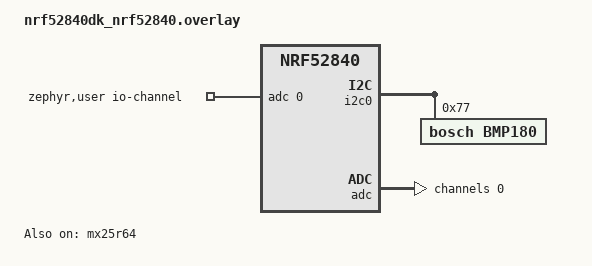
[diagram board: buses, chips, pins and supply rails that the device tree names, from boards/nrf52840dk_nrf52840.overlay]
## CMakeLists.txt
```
# SPDX-License-Identifier: Apache-2.0

cmake_minimum_required(VERSION 3.20.0)
find_package(Zephyr REQUIRED HINTS $ENV{ZEPHYR_BASE})
project(sensor_adv_adv)


target_sources(app PRIVATE src/main.c)
#Módulo Comum Obrigatório
add_subdirectory(../common/src/sensor_common ${CMAKE_CURRENT_BINARY_DIR}/sensor_common)
add_subdirectory(../common/src/sensor_ble ${CMAKE_CURRENT_BINARY_DIR}/sensor_ble)

#Módulo Comum Opcional
add_subdirectory_ifdef(CONFIG_BATTERY_LEVEL ../common/src/battery_level ${CMAKE_CURRENT_BINARY_DIR}/battery_level)
add_subdirectory_ifdef(CONFIG_SENSOR_BLE_SERVICE ../common/src/sensor_ble_service ${CMAKE_CURRENT_BINARY_DIR}/sensor_ble_service)
```

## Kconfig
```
#
# Copyright (c) 2024 Nordic Semiconductor ASA
#
# SPDX-License-Identifier: LicenseRef-Nordic-5-Clause
#

menu "BLE Env Sensor"


rsource "../common/src/sensor_common/Kconfig.sensor_common"
rsource "../common/src/sensor_ble/Kconfig.sensor_ble"
rsource "../common/src/sensor_ble_service/Kconfig.sensor_ble_service"
rsource "../common/src/battery_level/Kconfig.battery_level"

endmenu

menu "Zephyr Kernel"
source "Kconfig.zephyr"
endmenu
```

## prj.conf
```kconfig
#Common to all sensors
CONFIG_CBPRINTF_FP_SUPPORT=y
CONFIG_LOG=y

#I2C Sensor
CONFIG_I2C=y
CONFIG_SENSOR=y
CONFIG_BMP180=y

#Bluetooth
CONFIG_BT=y
CONFIG_BT_DEVICE_NAME="Sensor Env Adv"

#Peripheral
CONFIG_BT_PERIPHERAL=y
CONFIG_SENSOR_BLE_SERVICE=y

#DFU
CONFIG_NCS_SAMPLE_MCUMGR_BT_OTA_DFU=y 

#GATT
CONFIG_BT_GATT_CLIENT=y

# Adjust MTU size for GATT
CONFIG_BT_USER_DATA_LEN_UPDATE=y
CONFIG_BT_CTLR_DATA_LENGTH_MAX=251
CONFIG_BT_BUF_ACL_RX_SIZE=251
CONFIG_BT_BUF_ACL_TX_SIZE=251
CONFIG_BT_L2CAP_TX_MTU=247

#Security 
#CONFIG_BT_SMP=y
#CONFIG_BT_FIXED_PASSKEY=y

#Save BLE Info to Flash
# CONFIG_SETTINGS=y
# CONFIG_BT_SETTINGS=y
# CONFIG_FLASH=y
# CONFIG_FLASH_PAGE_LAYOUT=y
# CONFIG_FLASH_MAP=y
# CONFIG_NVS=y
```

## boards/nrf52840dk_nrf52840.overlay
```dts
// To get started, press Ctrl+Space to bring up the completion menu and view the available nodes.

// You can also use the buttons in the sidebar to perform actions on nodes.
// Actions currently available include:

// * Enabling / disabling the node
// * Adding the bus to a bus
// * Removing the node
// * Connecting ADC channels

// For more help, browse the DeviceTree documentation at https://docs.zephyrproject.org/latest/guides/dts/index.html
// You can also visit the nRF DeviceTree extension documentation at https://docs.nordicsemi.com/bundle/nrf-connect-vscode/page/guides/ncs_configure_app.html#devicetree-support-in-the-extension

/ {
	zephyr,user {
		io-channels = <&adc 0>;
	};
	chosen {
		nordic,pm-ext-flash = &mx25r64;
	};
};

&i2c0 {
	bmp180@77 {
			compatible = "bosch,bmp180";
			reg = <0x77>; /* Endere�o I2C do BMP180 */
			osr-press = <1>; /* Defina o oversampling de press�o (0 a 3) */
		};
	};

&adc {
	#address-cells = <1>;
	#size-cells = <0>;
	status = "okay";
	
	channel@0 {
		reg = <0>;
		zephyr,gain = "ADC_GAIN_1_6";
		zephyr,reference = "ADC_REF_INTERNAL";
		zephyr,acquisition-time = <ADC_ACQ_TIME(ADC_ACQ_TIME_MICROSECONDS, 40)>;
		zephyr,input-positive = <NRF_SAADC_VDD>;
		zephyr,resolution = <12>;
	};
};

&mx25r64 {
	status = "okay";
	};
	
```

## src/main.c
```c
/* main.c - Application main entry point */

/*
 * Copyright (c) 2015-2016 Intel Corporation
 *
 * SPDX-License-Identifier: Apache-2.0
 */

#include <zephyr/kernel.h>

#include <zephyr/logging/log.h>
#include <zephyr/drivers/sensor.h>
#include <zephyr/settings/settings.h>

#include "sensor_common.h"
#include "sensor_ble.h"
#ifdef CONFIG_SENSOR_BLE_SERVICE
#include "sensor_ble_service.h"
#endif // CONFIG_SENSOR_BLE_SERVICE


#define SENSOR_READ_INTERVAL K_SECONDS(10)
 
LOG_MODULE_REGISTER(sensor_env_adv, LOG_LEVEL_INF);
 
static const struct device *init_sensor(void)
 {
	 const struct device *dev = DEVICE_DT_GET_ONE(bosch_bmp180);
	 if (!device_is_ready(dev)) {
		 LOG_ERR("Sensor not found or not ready");
		 return NULL;
	 }
	 return dev;
 }
 
static int read_sensor_data(const struct device *sensor, sensor_data_t *data) {
    struct sensor_value pressure, temp;

    // Get Timestamp
    uint32_t timestamp = k_uptime_get_32();

    // Fetch sensor data
    if (sensor_sample_fetch(sensor) < 0) {
        LOG_ERR("Failed to fetch sensor sample");
        return -1;  // Return error code
    }

    // Read pressure and temperature values
    if (sensor_channel_get(sensor, SENSOR_CHAN_PRESS, &pressure) < 0 ||
        sensor_channel_get(sensor, SENSOR_CHAN_DIE_TEMP, &temp) < 0) {
		LOG_ERR("Failed to read sensor channels");
        return -1;  // Return error code
    }

    // Log sensor values
    LOG_DBG("Pressure: %.3f kPa", sensor_value_to_double(&pressure));
    LOG_DBG("Temperature: %.3f °C", sensor_value_to_double(&temp));

    // Populate sensor_data_t structure
    data->company_id = COMPANY_ID;
    data->type = SENSOR_TYPE_ENVIRONMENTAL;
    data->timestamp = timestamp;
    data->values[0] = (int16_t)(sensor_value_to_double(&temp) * TEMP_SCALING_FACTOR);
    data->values[1] = (int16_t)(sensor_value_to_double(&pressure) * PRESSURE_SCALING_FACTOR);

    return 0;  // Return success
}
 
 /* Main Function */
int main(void) {
	sensor_data_t data;
    
    // Zero-initialize the entire struct to avoid garbage values
    memset(&data, 0, sizeof(sensor_data_t));

    LOG_INF("Sensor Temp BLE\n");

	int err = init_ble();
    if (err) {
		LOG_ERR("Failed to Init BLE");
		return -1;
	}
#ifdef CONFIG_BT_SMP
    settings_load();
    bt_ready(err);
#endif // CONFIG_BT_SMP

	// Initialize Sensor
    const struct device *sensor = init_sensor();
    if (!sensor) {
        LOG_ERR("Failed to init sensor");
        return -1;  // Exit if the sensor is not found
    }

	while (1) {
		// Read sensor data
        if (read_sensor_data(sensor, &data) == 0) {
            // Process the sensor data
			sensor_data_print(&data);
			LOG_HEXDUMP_DBG(&data, sizeof(sensor_data_t), "Sensor Data");
			sensor_data_adv_update(&data);
#ifdef CONFIG_SENSOR_BLE_SERVICE
            send_sensor_data_notification(data);
#endif // CONFIG_SENSOR_BLE_SERVICE

		} else {
		  LOG_ERR("Failed to read sensor data");
		}
#ifdef CONFIG_SENSOR_BLE_SERVICE
        k_sleep(K_SECONDS(sensor_interval_var)); 
#else
        k_sleep(SENSOR_READ_INTERVAL);
#endif // CONFIG_SENSOR_BLE_SERVICE
    }
    return 0;
}
```
